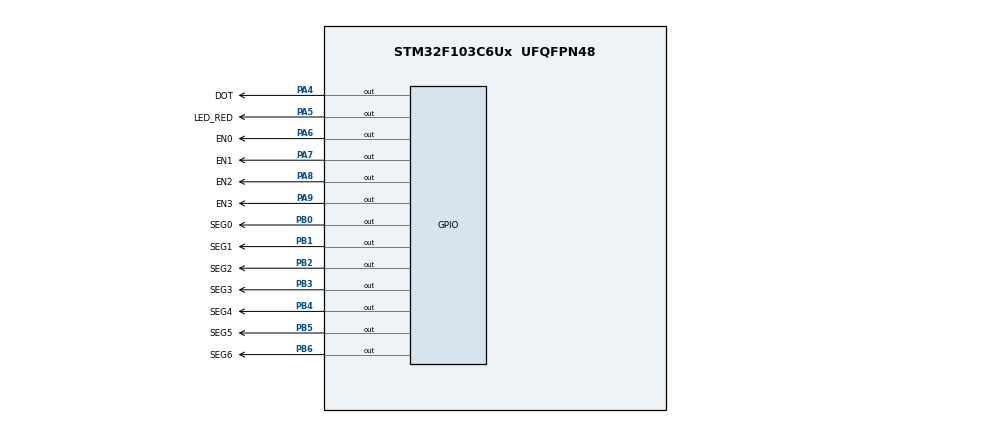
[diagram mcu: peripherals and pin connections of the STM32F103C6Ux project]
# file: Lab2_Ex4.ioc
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Mcu.Family=STM32F1
Mcu.Name=STM32F103C6Ux
Mcu.Package=UFQFPN48
NVIC.PriorityGroup=NVIC_PRIORITYGROUP_4
NVIC.TIM2_IRQn=true\:0\:0\:false\:false\:true\:false\:true
PA13.Mode=Serial_Wire
PA13.Signal=SYS_JTMS-SWDIO
PA14.Mode=Serial_Wire
PA14.Signal=SYS_JTCK-SWCLK
PA4.GPIO_Label=DOT
PA4.PinState=GPIO_PIN_SET
PA4.Signal=GPIO_Output
PA5.GPIO_Label=LED_RED
PA5.PinState=GPIO_PIN_SET
PA5.Signal=GPIO_Output
PA6.GPIO_Label=EN0
PA6.PinState=GPIO_PIN_SET
PA6.Signal=GPIO_Output
PA7.GPIO_Label=EN1
PA7.PinState=GPIO_PIN_SET
PA7.Signal=GPIO_Output
PA8.GPIO_Label=EN2
PA8.PinState=GPIO_PIN_SET
PA8.Signal=GPIO_Output
PA9.GPIO_Label=EN3
PA9.PinState=GPIO_PIN_SET
PA9.Signal=GPIO_Output
PB0.GPIO_Label=SEG0
PB0.PinState=GPIO_PIN_SET
PB0.Signal=GPIO_Output
PB1.GPIO_Label=SEG1
PB1.PinState=GPIO_PIN_SET
PB1.Signal=GPIO_Output
PB2.GPIO_Label=SEG2
PB2.PinState=GPIO_PIN_SET
PB2.Signal=GPIO_Output
PB3.GPIO_Label=SEG3
PB3.PinState=GPIO_PIN_SET
PB3.Signal=GPIO_Output
PB4.GPIO_Label=SEG4
PB4.PinState=GPIO_PIN_SET
PB4.Signal=GPIO_Output
PB5.GPIO_Label=SEG5
PB5.PinState=GPIO_PIN_SET
PB5.Signal=GPIO_Output
PB6.GPIO_Label=SEG6
PB6.PinState=GPIO_PIN_SET
PB6.Signal=GPIO_Output
ProjectManager.HeapSize=0x200
ProjectManager.StackSize=0x400
ProjectManager.TargetToolchain=STM32CubeIDE
RCC.APB1Freq_Value=8000000
RCC.APB2Freq_Value=8000000
TIM2.Period=9
TIM2.Prescaler=7999
VP_TIM2_VS_ClockSourceINT.Mode=Internal
board=custom

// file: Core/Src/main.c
/* USER CODE BEGIN Header */
/**
  ******************************************************************************
  * @file           : main.c
  * @brief          : Main program body
  *                   Lab 2 - Exercise 4 - Dua tan so quet 4 LED 7 doan len 1 Hz
  ******************************************************************************
  * @attention
  *
  * <h2><center>&copy; Copyright (c) 2026 STMicroelectronics.
  * All rights reserved.</center></h2>
  *
  * This software component is licensed by ST under BSD 3-Clause license,
  * the "License"; You may not use this file except in compliance with the
  * License. You may obtain a copy of the License at:
  *                        opensource.org/licenses/BSD-3-Clause
  *
  ******************************************************************************
  */
/* USER CODE END Header */
#include "main.h"

/* USER CODE BEGIN PD */
/* LED 7 doan common anode -> doan sang khi xuat muc 0 */
#define SEG_ON            GPIO_PIN_RESET
#define SEG_OFF           GPIO_PIN_SET

/* PNP: xuat muc 0 -> transistor dan -> LED 7 doan duoc cap nguon */
#define EN_ON             GPIO_PIN_RESET
#define EN_OFF            GPIO_PIN_SET

#define MAX_LED           4

/* Yeu cau: tan so cua 4 LED 7 doan = 1 Hz, nghia la quet HET 4 LED
   trong 1 giay  ->  moi LED chi con duoc giu 1000 / 4 = 250 ms */
#define SCAN_FREQ_HZ      1
#define SWITCH_TIME_MS    (1000 / SCAN_FREQ_HZ / MAX_LED)   /* = 250 ms  */
#define TICKS_SWITCH      (SWITCH_TIME_MS / 10)             /* = 25 nhip */

/* DOT van nhap nhay moi 1 giay */
#define DOT_TIME_MS       1000
#define TICKS_DOT         (DOT_TIME_MS / 10)
/* USER CODE END PD */

TIM_HandleTypeDef htim2;

void SystemClock_Config(void);
static void MX_GPIO_Init(void);
static void MX_TIM2_Init(void);

/* USER CODE BEGIN 0 */
int index_led = 0;
int led_buffer[MAX_LED] = {1, 2, 3, 0};

int timer_counter = 0;
int dot_counter   = 0;
int dot_state     = 0;

/* Bang ma 7 doan, bit0..bit6 = doan a..g (kieu gfedcba).
   LED common anode: doan SANG khi chan tin hieu o muc 0. */
const uint8_t SEG_CODE[10] = {
  0x3F, 0x06, 0x5B, 0x4F, 0x66, 0x6D, 0x7D, 0x07, 0x7F, 0x6F
};

void display7SEG(int num)
{
  if (num < 0 || num > 9) return;                 /* chong tran bang    */
  for (int i = 0; i < 7; i++) {                   /* SEG0..SEG6 = PB0..PB6 */
    HAL_GPIO_WritePin(SEG0_GPIO_Port, (uint16_t)(SEG0_Pin << i),
                      ((SEG_CODE[num] >> i) & 1) ? SEG_ON : SEG_OFF);
  }
}

void update7SEG(int index)
{
  /* B1: TAT het 4 LED truoc. Neu bo buoc nay, du lieu cua LED cu con
         nam tren bus SEG trong luc LED moi da sang -> bong mo (ghosting). */
  HAL_GPIO_WritePin(EN0_GPIO_Port, EN0_Pin | EN1_Pin | EN2_Pin | EN3_Pin, EN_OFF);

  /* B2: dat du lieu  ->  B3: bat DUNG 1 LED */
  switch (index) {
    case 0:  display7SEG(led_buffer[0]);
             HAL_GPIO_WritePin(EN0_GPIO_Port, EN0_Pin, EN_ON);  break;
    case 1:  display7SEG(led_buffer[1]);
             HAL_GPIO_WritePin(EN1_GPIO_Port, EN1_Pin, EN_ON);  break;
    case 2:  display7SEG(led_buffer[2]);
             HAL_GPIO_WritePin(EN2_GPIO_Port, EN2_Pin, EN_ON);  break;
    case 3:  display7SEG(led_buffer[3]);
             HAL_GPIO_WritePin(EN3_GPIO_Port, EN3_Pin, EN_ON);  break;
    default: break;
  }
}
/* USER CODE END 0 */

int main(void)
{

  /* MCU Configuration--------------------------------------------------------*/

  /* Reset of all peripherals, Initializes the Flash interface and the Systick. */
  HAL_Init();

  /* Configure the system clock */
  SystemClock_Config();

  /* Initialize all configured peripherals */
  MX_GPIO_Init();
  MX_TIM2_Init();
  /* USER CODE BEGIN 2 */
  HAL_TIM_Base_Start_IT(&htim2);
  /* USER CODE END 2 */

  /* Infinite loop */
  /* USER CODE BEGIN WHILE */
  while (1)
  {
    /* Vong lap chinh de trong: moi viec nam trong ngat TIM2 */
    /* USER CODE END WHILE */

  }
}

void SystemClock_Config(void)
{
  RCC_OscInitTypeDef RCC_OscInitStruct = {0};
  RCC_ClkInitTypeDef RCC_ClkInitStruct = {0};

  /** Initializes the RCC Oscillators according to the specified parameters
  * in the RCC_OscInitTypeDef structure.
  */
  RCC_OscInitStruct.OscillatorType = RCC_OSCILLATORTYPE_HSI;
  RCC_OscInitStruct.HSIState = RCC_HSI_ON;
  RCC_OscInitStruct.HSICalibrationValue = RCC_HSICALIBRATION_DEFAULT;
  RCC_OscInitStruct.PLL.PLLState = RCC_PLL_NONE;
  if (HAL_RCC_OscConfig(&RCC_OscInitStruct) != HAL_OK)
  {
    Error_Handler();
  }
  /** Initializes the CPU, AHB and APB buses clocks
  */
  RCC_ClkInitStruct.ClockType = RCC_CLOCKTYPE_HCLK|RCC_CLOCKTYPE_SYSCLK
                              |RCC_CLOCKTYPE_PCLK1|RCC_CLOCKTYPE_PCLK2;
  RCC_ClkInitStruct.SYSCLKSource = RCC_SYSCLKSOURCE_HSI;
  RCC_ClkInitStruct.AHBCLKDivider = RCC_SYSCLK_DIV1;
  RCC_ClkInitStruct.APB1CLKDivider = RCC_HCLK_DIV1;
  RCC_ClkInitStruct.APB2CLKDivider = RCC_HCLK_DIV1;

  if (HAL_RCC_ClockConfig(&RCC_ClkInitStruct, FLASH_LATENCY_0) != HAL_OK)
  {
    Error_Handler();
  }
}

static void MX_GPIO_Init(void)
{
  GPIO_InitTypeDef GPIO_InitStruct = {0};

  /* GPIO Ports Clock Enable */
  __HAL_RCC_GPIOA_CLK_ENABLE();
  __HAL_RCC_GPIOB_CLK_ENABLE();

  /*Configure GPIO pin Output Level */
  HAL_GPIO_WritePin(GPIOA, DOT_Pin|LED_RED_Pin|EN0_Pin
                          |EN1_Pin|EN2_Pin|EN3_Pin, GPIO_PIN_SET);

  /*Configure GPIO pin Output Level */
  HAL_GPIO_WritePin(GPIOB, SEG0_Pin|SEG1_Pin|SEG2_Pin
                          |SEG3_Pin|SEG4_Pin|SEG5_Pin
                          |SEG6_Pin, GPIO_PIN_SET);

  /*Configure GPIO pins : DOT_Pin LED_RED_Pin EN0_Pin EN1_Pin EN2_Pin EN3_Pin */
  GPIO_InitStruct.Pin = DOT_Pin|LED_RED_Pin|EN0_Pin
                          |EN1_Pin|EN2_Pin|EN3_Pin;
  GPIO_InitStruct.Mode = GPIO_MODE_OUTPUT_PP;
  GPIO_InitStruct.Pull = GPIO_NOPULL;
  GPIO_InitStruct.Speed = GPIO_SPEED_FREQ_LOW;
  HAL_GPIO_Init(GPIOA, &GPIO_InitStruct);

  /*Configure GPIO pins : SEG0_Pin SEG1_Pin SEG2_Pin SEG3_Pin SEG4_Pin SEG5_Pin SEG6_Pin */
  GPIO_InitStruct.Pin = SEG0_Pin|SEG1_Pin|SEG2_Pin
                          |SEG3_Pin|SEG4_Pin|SEG5_Pin
                          |SEG6_Pin;
  GPIO_InitStruct.Mode = GPIO_MODE_OUTPUT_PP;
  GPIO_InitStruct.Pull = GPIO_NOPULL;
  GPIO_InitStruct.Speed = GPIO_SPEED_FREQ_LOW;
  HAL_GPIO_Init(GPIOB, &GPIO_InitStruct);

}
static void MX_TIM2_Init(void)
{

  TIM_ClockConfigTypeDef sClockSourceConfig = {0};
  TIM_MasterConfigTypeDef sMasterConfig = {0};

  htim2.Instance = TIM2;
  htim2.Init.Prescaler = 7999;
  htim2.Init.CounterMode = TIM_COUNTERMODE_UP;
  htim2.Init.Period = 9;
  htim2.Init.ClockDivision = TIM_CLOCKDIVISION_DIV1;
  htim2.Init.AutoReloadPreload = TIM_AUTORELOAD_PRELOAD_DISABLE;
  if (HAL_TIM_Base_Init(&htim2) != HAL_OK)
  {
    Error_Handler();
  }
  sClockSourceConfig.ClockSource = TIM_CLOCKSOURCE_INTERNAL;
  if (HAL_TIM_ConfigClockSource(&htim2, &sClockSourceConfig) != HAL_OK)
  {
    Error_Handler();
  }
  sMasterConfig.MasterOutputTrigger = TIM_TRGO_RESET;
  sMasterConfig.MasterSlaveMode = TIM_MASTERSLAVEMODE_DISABLE;
  if (HAL_TIMEx_MasterConfigSynchronization(&htim2, &sMasterConfig) != HAL_OK)
  {
    Error_Handler();
  }

}

/* USER CODE BEGIN 4 */
void HAL_TIM_PeriodElapsedCallback(TIM_HandleTypeDef *htim)
{
  if (htim->Instance == TIM2) {

    timer_counter++;
    if (timer_counter >= TICKS_SWITCH) {    /* 25 x 10 ms = 250 ms */
      timer_counter = 0;
      update7SEG(index_led++);
      if (index_led >= MAX_LED) index_led = 0;
    }

    dot_counter++;
    if (dot_counter >= TICKS_DOT) {         /* 100 x 10 ms = 1 s */
      dot_counter = 0;
      dot_state   = !dot_state;
      HAL_GPIO_WritePin(DOT_GPIO_Port, DOT_Pin,
                        dot_state ? GPIO_PIN_SET : GPIO_PIN_RESET);
    }
  }
}
/* USER CODE END 4 */

void Error_Handler(void)
{
  __disable_irq();
  while (1)
  {
  }
}

/************************ (C) COPYRIGHT STMicroelectronics *****END OF FILE****/
